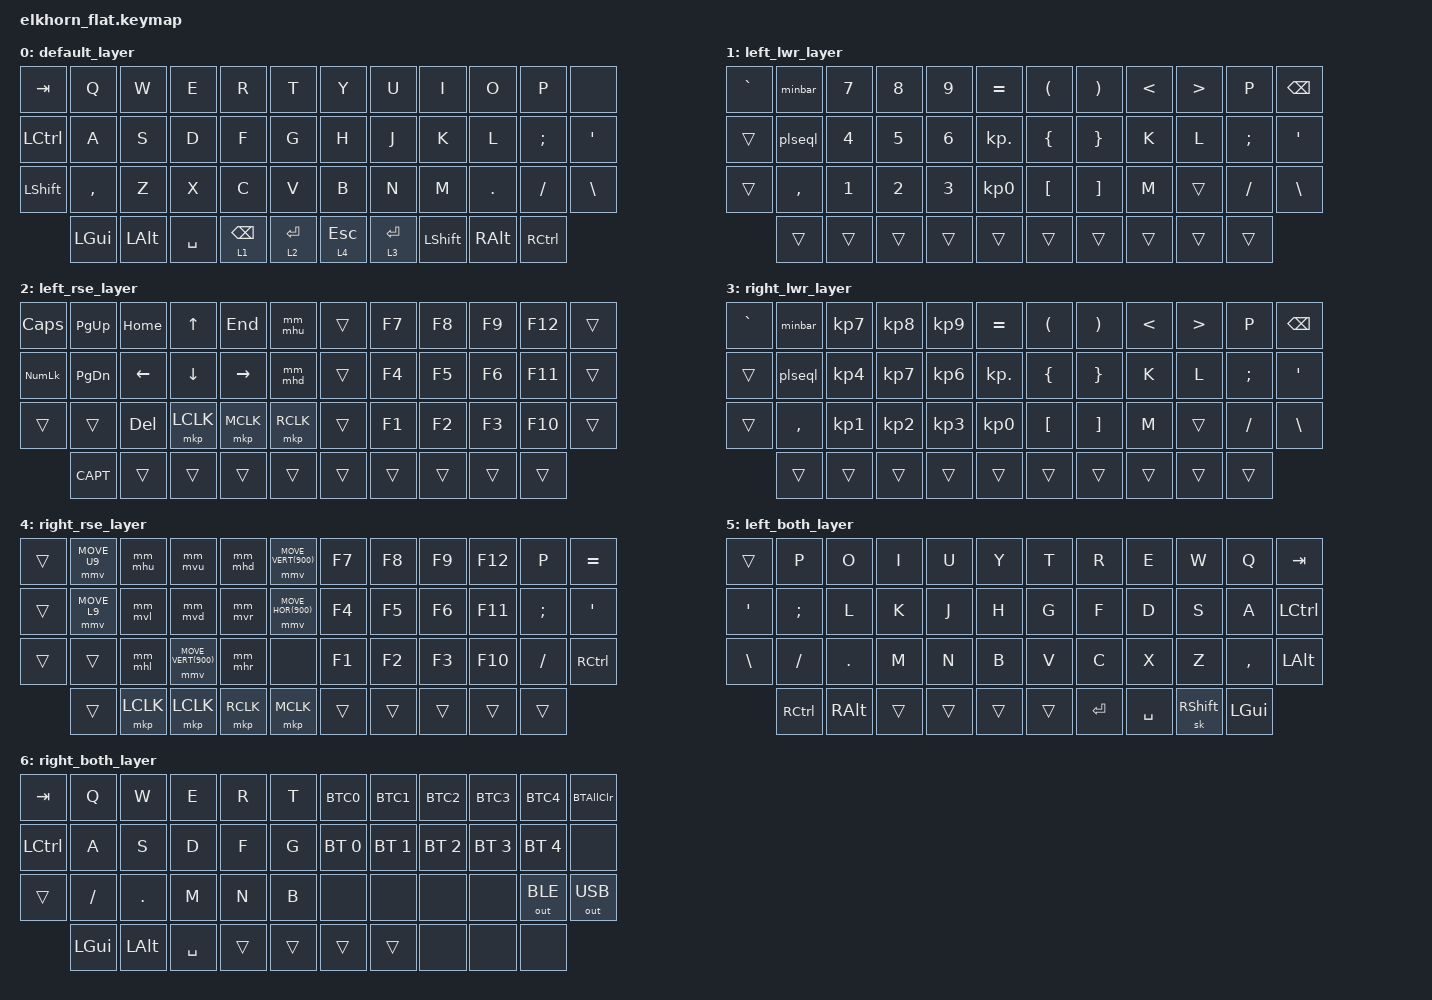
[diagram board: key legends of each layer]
/*
*
* Copyright (c) 2021 Darryl deHaan
* SPDX-License-Identifier: MIT
*
*/

#include <behaviors.dtsi>
#include <dt-bindings/zmk/keys.h>
#include <dt-bindings/zmk/outputs.h>
#include <dt-bindings/zmk/bt.h>
#include <dt-bindings/zmk/mouse.h>

#define SH LSHFT 
#define SHFT LSHFT 
#define CT LCTRL 
#define CTRL LCTRL
#define RCT RCTRL 
#define AL LALT
#define ALT LALT
#define RAL RALT
#define GU LGUI
#define SPC SPACE
#define BPC BACKSPACE

#define VMT C_MUTE
#define VDN C_VOL_DN
#define VUP C_VOL_UP

#define KRET KP_ENTER
#define KMUL KP_MULTIPLY
#define KMIN KP_MINUS
#define KDIV KP_DIVIDE
#define KPLS KP_PLUS
#define KCOM KP_COMMA
#define KDOT KP_DOT

#define SM SEMI

#define HM_TAPPING_TERM 300
#define HM_TAPPING_TERM_FAST 200
#define HM_PRIOR_IDLE 0

#define COMBO_TERM_FAST 35
#define COMBO_TERM_SLOW 40
#define COMBO_PRIOR_IDLE 100

#define MOUSE_MOVE_NEG_DEFAULT -300
#define MOUSE_MOVE_DEFAULT 300
#define MOUSE_MOVE_NEG_FAST -3000 
#define MOUSE_MOVE_FAST 3000 

#define CL CAPS

#define VDN C_VOL_DN
#define VUP C_VOL_UP
#define CALC C_AL_CALC

#define MOVE_U MOVE_VERT(-200)
#define MOVE_D MOVE_VERT(200)
#define MOVE_L MOVE_HOR(-200)
#define MOVE_R MOVE_HOR(200)
#define MOVE_U9 MOVE_VERT(-900)
#define MOVE_D9 MOVE_VERT(900)
#define MOVE_L9 MOVE_HOR(-900)
#define MOVE_R9 MOVE_HOR(900)
#define SCL_U SCROLL_VERT(17)
#define SCL_D SCROLL_VERT(-17)
#define SCL_L SCROLL_HOR(-17)
#define SCL_R SCROLL_HOR(17)
#define SCL_U12 SCROLL_VERT(18)
#define SCL_D12 SCROLL_VERT(-18)
#define SCL_L12 SCROLL_HOR(-18)
#define SCL_R12 SCROLL_HOR(18)


&mt {
    tapping-term-ms = <100>;
}; 
&sk {
    release-after-ms = <5000>;
    quick-release;
};

/ {
    chosen {
        zmk,matrix_transform = &default_transform;
    };
};


/ {
    behaviors {
        hd: hold_mod {
            compatible = "zmk,behavior-hold-tap";
            label = "HOLD_MOD";
            #binding-cells = <2>;
            
            flavor = "balanced";
            tapping-term-ms = <HM_TAPPING_TERM_FAST>;
            quick-tap-ms = <0>;
            require-prior-idle-ms = <HM_PRIOR_IDLE>;

            bindings = <&mo>, <&kp>;
        };


        hm: homerow_mods {
            compatible = "zmk,behavior-hold-tap";
            label = "HOLD_TAB_HOME_ROW";
            #binding-cells = <2>;
            
            flavor = "balanced";
            tapping-term-ms = <HM_TAPPING_TERM_FAST>;
            quick-tap-ms = <0>;
            require-prior-idle-ms = <HM_PRIOR_IDLE>;

            bindings = <&kp>, <&kp>;
        };
        sht: sticky-hold-tap {
            compatible = "zmk,behavior-hold-tap";
            label = "HOLD_TAP_STICKY";
            #binding-cells = <2>;
            
            flavor = "balanced";
            tapping-term-ms = <HM_TAPPING_TERM_FAST>;
            quick-tap-ms = <0>;
            require-prior-idle-ms = <HM_PRIOR_IDLE>;

            bindings = <&sk>, <&kp>;
        };

        minbar: mod_morph_minus_underbar {
            compatible = "zmk,behavior-mod-morph";
            label="MOD_MORPH_MINUS_UNDERBAR";
            #binding-cells = <0>;
            bindings = <&kp KP_MINUS>, <&kp UNDERSCORE>;
            mods = <(MOD_LSFT)>;
        };
        plseql: mod_morph_plus_equal {
            compatible = "zmk,behavior-mod-morph";
            label="MOD_MORPH_PLUS_EQUAL";
            #binding-cells = <0>;
            bindings = <&kp PLUS>, <&kp EQUAL>;
            mods = <(MOD_LSFT)>;
        };

        
        
        mm_mvu: mod_morph_mvu{
            compatible = "zmk,behavior-mod-morph";
            label = "MOD_MORPH_MVU";
            #binding-cells = <0>;
            bindings = <&mmv MOVE_VERT(MOUSE_MOVE_NEG_DEFAULT)>,  <&mmv MOVE_VERT(MOUSE_MOVE_NEG_FAST)>;
            mods = <(MOD_LALT)>;
        };
        mm_mvd: mod_morph_mvd{
            compatible = "zmk,behavior-mod-morph";
            label = "MOD_MORPH_MVD";
            #binding-cells = <0>;
            bindings = <&mmv MOVE_VERT(MOUSE_MOVE_DEFAULT)>,  <&mmv MOVE_VERT(MOUSE_MOVE_FAST)>;
            mods = <(MOD_LALT)>;
        };
        mm_mvl: mod_morph_mvl{
            compatible = "zmk,behavior-mod-morph";
            label = "MOD_MORPH_MVL";
            #binding-cells = <0>;
            bindings = <&mmv MOVE_HOR(MOUSE_MOVE_NEG_DEFAULT)>,  <&mmv MOVE_HOR(MOUSE_MOVE_NEG_FAST)>;
            mods = <(MOD_LALT)>;
        };
        mm_mvr: mod_morph_mvr{
            compatible = "zmk,behavior-mod-morph";
            label = "MOD_MORPH_MVR";
            #binding-cells = <0>;
            bindings = <&mmv MOVE_HOR(MOUSE_MOVE_DEFAULT)>,  <&mmv MOVE_HOR(MOUSE_MOVE_FAST)>;
            mods = <(MOD_LALT)>;
        };
        mm_mhu: mod_morph_mhu{
            compatible = "zmk,behavior-mod-morph";
            label = "MOD_MORPH_MHU";
            #binding-cells = <0>;
            bindings = <&mwh SCL_U>,  <&mwh SCL_U12>;
            mods = <(MOD_LALT)>;
        };
        mm_mhd: mod_morph_mhd{
            compatible = "zmk,behavior-mod-morph";
            label = "MOD_MORPH_MHD";
            #binding-cells = <0>;
            bindings = <&mwh SCL_D>,  <&mwh SCL_D12>;
            mods = <(MOD_LALT)>;
        };
        mm_mhl: mod_morph_mhl{
            compatible = "zmk,behavior-mod-morph";
            label = "MOD_MORPH_MHL";
            #binding-cells = <0>;
            bindings = <&mwh SCL_L>,  <&mwh SCL_L12>;
            mods = <(MOD_LALT)>;
        };
        mm_mhr: mod_morph_mhr{
            compatible = "zmk,behavior-mod-morph";
            label = "MOD_MORPH_MHR";
            #binding-cells = <0>;
            bindings = <&mwh SCL_R>,  <&mwh SCL_R12>;
            mods = <(MOD_LALT)>;
        };
    };
    
    conditional_layers {
        compatible = "zmk,conditional-layers";
        left_tri_layer {
            if-layers = <1 2>;
            then-layer = <5>;
        };
        right_tri_layer {
            if-layers = <3 4>;
            then-layer = <6>;
        };
    };

    macros {
        ZMK_MACRO(BTAllClr, wait-ms=<1>; tap-ms=<1>; bindings=<
            &bt BT_SEL 0  &bt BT_CLR &bt BT_SEL 1  &bt BT_CLR &bt BT_SEL 2  &bt BT_CLR 
            &bt BT_SEL 3  &bt BT_CLR &bt BT_SEL 4  &bt BT_CLR >;)
            
        ZMK_MACRO(BTC0, wait-ms=<1>; tap-ms=<1>; bindings=< &bt BT_SEL 0  &bt BT_CLR >;)
        ZMK_MACRO(BTC1, wait-ms=<1>; tap-ms=<1>; bindings=< &bt BT_SEL 1  &bt BT_CLR >;)
        ZMK_MACRO(BTC2, wait-ms=<1>; tap-ms=<1>; bindings=< &bt BT_SEL 2  &bt BT_CLR >;)
        ZMK_MACRO(BTC3, wait-ms=<1>; tap-ms=<1>; bindings=< &bt BT_SEL 3  &bt BT_CLR >;)
        ZMK_MACRO(BTC4, wait-ms=<1>; tap-ms=<1>; bindings=< &bt BT_SEL 4  &bt BT_CLR >;)
        

        ZMK_MACRO(CAPT ,wait-ms=<30>; tap-ms=<30>; bindings= 
            <&macro_press &kp LSHFT>, <&macro_press &kp LGUI>
            , <&macro_tap &kp S>
            , <&macro_release &kp LSHFT>, <&macro_release &kp LGUI>;)
    };

     combos {
        compatible = "zmk,combos";
        combo_esc {
            timeout-ms = <COMBO_TERM_FAST>;
            require-prior-idle-ms = <COMBO_PRIOR_IDLE>;
            key-positions = <2 3>;
            layers = <0 1 3>;
            bindings = <&kp ESC>;
        };
        combo_del {
            timeout-ms = <COMBO_TERM_FAST>;
            require-prior-idle-ms = <COMBO_PRIOR_IDLE>;
            key-positions = <3 4>;
            layers = <0 1 3>;
            bindings = <&kp DEL>;
        };
        combo_enter {
            timeout-ms = <COMBO_TERM_FAST>;
            require-prior-idle-ms = <COMBO_PRIOR_IDLE>;
            key-positions = <14 15>;
            layers = <0 1 3>;
            bindings = <&kp RET>;
        };
        combo_bspc {
            timeout-ms = <COMBO_TERM_FAST>;
            require-prior-idle-ms = <COMBO_PRIOR_IDLE>;
            key-positions = <15 16>;
            layers = <0 1 3>;
            bindings = <&kp BSPC>;
        };
        
        combo_mul {
            timeout-ms = <COMBO_TERM_FAST>;
            require-prior-idle-ms = <COMBO_PRIOR_IDLE>;
            key-positions = <13 14>;
            layers = <1 3>;
            bindings = <&kp KP_MULTIPLY>;
        };
        combo_div {
            timeout-ms = <COMBO_TERM_FAST>;
            require-prior-idle-ms = <COMBO_PRIOR_IDLE>;
            key-positions = <1 2>;
            layers = <1 3>;
            bindings = <&kp KP_DIVIDE>;
        };
    };
    


    keymap {
        compatible = "zmk,keymap";
        
        default_layer {
            bindings = <
&kp TAB   &kp Q     &kp W     &kp E     &kp R     &kp T         &kp Y     &kp U     &kp I     &kp O     &kp P     &none
&kp LCTRL &kp A     &kp S     &kp D     &kp F     &kp G         &kp H     &kp J     &kp K     &kp L     &kp SM    &kp SQT
&kp SHFT  &kp COMMA &kp Z     &kp X     &kp C     &kp V         &kp B     &kp N     &kp M     &kp DOT   &kp FSLH  &kp BSLH
          &kp LGUI  &kp LALT  &kp SPC   &hd 1 BPC &hd 2 RET     &hd 4 ESC &hd 3 RET &kp SHFT  &kp RALT  &kp RCTRL
            >;
        };

        left_lwr_layer { //1
            bindings = <
&kp GRAVE &minbar   &kp N7    &kp N8    &kp N9    &kp EQUAL     &kp LPAR  &kp RPAR  &kp LT    &kp GT    &kp P     &kp BPC
&trans    &plseql   &kp N4    &kp N5    &kp N6    &kp KDOT      &kp LBRC  &kp RBRC  &kp K     &kp L     &kp SEMI  &kp SQT
&trans    &kp COMMA &kp N1    &kp N2    &kp N3    &kp KP_N0     &kp LBKT  &kp RBKT  &kp M     &trans    &kp FSLH  &kp BSLH
          &trans    &trans    &trans    &trans    &trans        &trans    &trans    &trans    &trans    &trans
            >;
        };
        
        left_rse_layer { //2
            bindings = <
&kp CAPS  &kp PG_UP &kp HOME  &kp UP    &kp END   &mm_mhu      &trans    &kp F7    &kp F8    &kp F9    &kp F12   &trans
&kp KP_NUM &kp PG_DN &kp LEFT  &kp DOWN  &kp RIGHT &mm_mhd      &trans    &kp F4    &kp F5    &kp F6    &kp F11   &trans
&trans    &trans    &kp DEL   &mkp LCLK &mkp MCLK &mkp RCLK    &trans    &kp F1    &kp F2    &kp F3    &kp F10   &trans
          &CAPT     &trans    &trans    &trans    &trans       &trans    &trans    &trans    &trans    &trans
            >;
        };

        right_lwr_layer { //3
            bindings = <
&kp GRAVE &minbar   &kp KP_N7 &kp KP_N8 &kp KP_N9 &kp EQUAL     &kp LPAR  &kp RPAR  &kp LT    &kp GT    &kp P     &kp BPC
&trans    &plseql   &kp KP_N4 &kp KP_N7 &kp KP_N6 &kp KDOT      &kp LBRC  &kp RBRC  &kp K     &kp L     &kp SEMI  &kp SQT
&trans    &kp COMMA &kp KP_N1 &kp KP_N2 &kp KP_N3 &kp KP_N0     &kp LBKT  &kp RBKT  &kp M     &trans    &kp FSLH  &kp BSLH
          &trans    &trans    &trans    &trans    &trans        &trans    &trans    &trans    &trans    &trans
            >;
        };
        
        right_rse_layer { //4
            bindings = <
   &trans    &mmv MOVE_U9 &mm_mhu   &mm_mvu      &mm_mhd   &mmv MOVE_D9      &kp F7    &kp F8    &kp F9    &kp F12   &kp P     &kp EQUAL
   &trans    &mmv MOVE_L9 &mm_mvl   &mm_mvd      &mm_mvr   &mmv MOVE_R9      &kp F4    &kp F5    &kp F6    &kp F11   &kp SEMI  &kp SQT
   &trans    &trans       &mm_mhl   &mmv MOVE_D9 &mm_mhr   &none             &kp F1    &kp F2    &kp F3    &kp F10   &kp FSLH  &kp RCTRL
             &trans       &mkp LCLK &mkp LCLK    &mkp RCLK &mkp MCLK         &trans    &trans    &trans    &trans    &trans
            >;
        };

        
        left_both_layer { //5- mirror layer
            bindings = <
                
&trans     &kp P     &kp O     &kp I     &kp U     &kp Y      &kp T      &kp R      &kp E      &kp W     &kp Q     &kp TAB
&kp SQT    &kp SEMI  &kp L     &kp K     &kp J     &kp H      &kp G      &kp F      &kp D      &kp S     &kp A     &kp LCTRL
&kp BSLH   &kp FSLH  &kp DOT   &kp M     &kp N     &kp B      &kp V      &kp C      &kp X      &kp Z     &kp COMMA &kp LALT   
           &kp RCTRL &kp RALT  &trans    &trans    &trans     &trans     &kp RET   &kp SPACE   &sk RSHFT &kp LGUI
            >;
        };
        
        right_both_layer {//6 
            bindings = <
&kp TAB   &kp Q     &kp W     &kp E     &kp R     &kp T         &BTC0  &BTC1  &BTC2  &BTC3  &BTC4    &BTAllClr
&kp LCTRL &kp A     &kp S     &kp D     &kp F     &kp G         &bt BT_SEL 0   &bt BT_SEL 1   &bt BT_SEL 2   &bt BT_SEL 3   &bt BT_SEL 4   &none
&trans    &kp FSLH  &kp DOT   &kp M     &kp N     &kp B         &none     &none     &none     &none     &out OUT_BLE     &out OUT_USB     
          &kp LGUI  &kp LALT  &kp SPACE &trans    &trans        &trans    &trans    &none     &none     &none     
            >;
        };

    };
};
